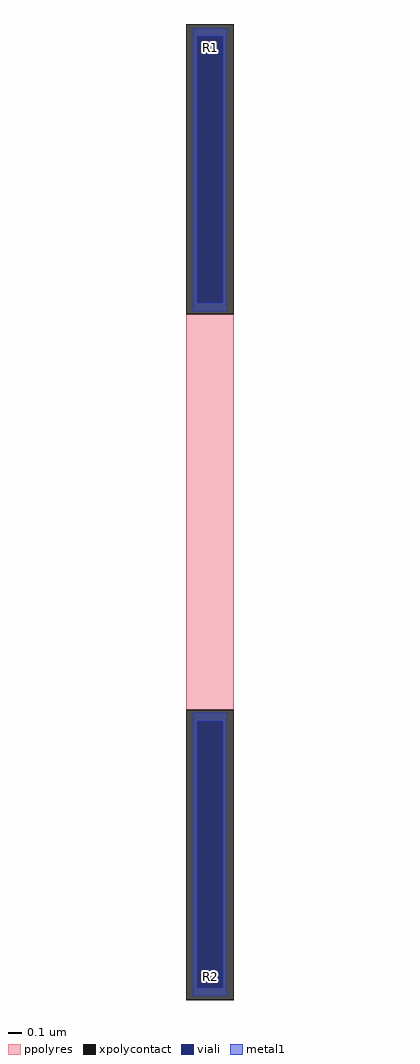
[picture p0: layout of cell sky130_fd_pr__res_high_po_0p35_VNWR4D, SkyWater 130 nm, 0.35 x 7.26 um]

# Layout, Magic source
magic
tech sky130A
magscale 1 2
<< xpolycontact >>
rect -35 294 35 726
rect -35 -726 35 -294
<< ppolyres >>
rect -35 -294 35 294
<< viali >>
rect -19 311 19 708
rect -19 -708 19 -311
<< metal1 >>
rect -25 708 25 720
rect -25 311 -19 708
rect 19 311 25 708
rect -25 299 25 311
rect -25 -311 25 -299
rect -25 -708 -19 -311
rect 19 -708 25 -311
rect -25 -720 25 -708
<< labels >>
rlabel xpolycontact 0 691 0 691 0 R1
port 1 nsew
rlabel xpolycontact 0 -691 0 -691 0 R2
port 2 nsew
<< properties >>
string gencell sky130_fd_pr__res_high_po_0p35
string library sky130
string parameters w 0.35 l 3.10 m 1 nx 1 wmin 0.350 lmin 0.50 class resistor rho 319.8 val 3.945k dummy 0 dw 0.0 term 194.82 sterm 0.0 caplen 0 guard 0 glc 1 grc 1 gtc 1 gbc 1 compatible {sky130_fd_pr__res_high_po_0p35  sky130_fd_pr__res_high_po_0p69 sky130_fd_pr__res_high_po_1p41  sky130_fd_pr__res_high_po_2p85 sky130_fd_pr__res_high_po_5p73} snake 0 full_metal 1 wmax 0.350 vias 1 n_guard 0 hv_guard 0 viagb 0 viagt 0 viagl 0 viagr 0 doports 1
<< end >>
